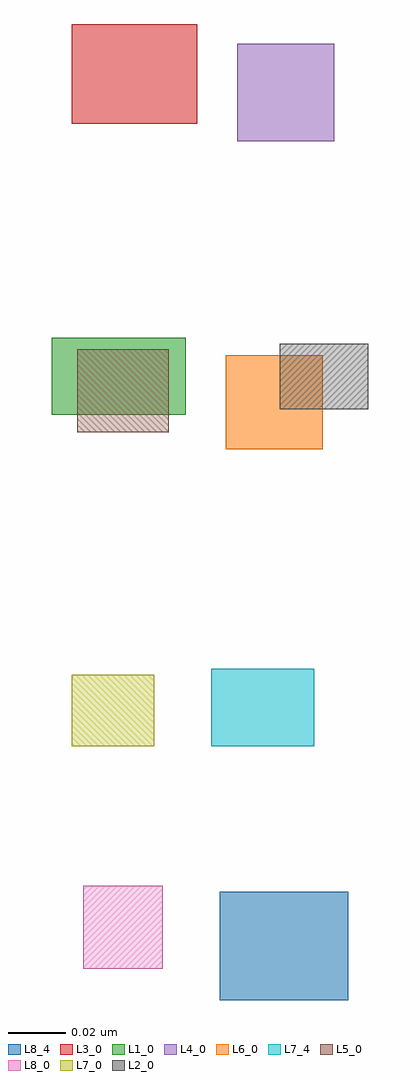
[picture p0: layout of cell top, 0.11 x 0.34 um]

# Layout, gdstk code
import gdstk
lib = gdstk.Library(unit=1e-6, precision=1e-09)
def R(c, l, rs):  # rectangles x0, y0, x1, y1
    for r in rs: c.add(gdstk.rectangle(r[:2], r[2:], *l))
L1_0 = (1, 0)
L2_0 = (2, 0)
L3_0 = (3, 0)
L4_0 = (4, 0)
L5_0 = (5, 0)
L6_0 = (6, 0)
L7_0 = (7, 0)
L7_4 = (7, 4)
L8_0 = (8, 0)
L8_4 = (8, 4)

c_a = lib.new_cell('a')
R(c_a, L3_0, [(-0.132,0.071,-0.088,0.106)])
R(c_a, L4_0, [(-0.074,0.065,-0.04,0.099)])

c_b = lib.new_cell('b')
R(c_b, L5_0, [(-0.131,0.02,-0.099,0.049)])
R(c_b, L6_0, [(-0.079,0.014,-0.045,0.047)])

c_c = lib.new_cell('c')
R(c_c, L7_0, [(-0.132,-0.034,-0.103,-0.009)])
R(c_c, L7_4, [(-0.083,-0.034,-0.047,-0.007)])

c_d = lib.new_cell('d')
R(c_d, L8_0, [(-0.13,-0.074,-0.102,-0.045)])
R(c_d, L8_4, [(-0.082,-0.085,-0.037,-0.047)])

top = lib.new_cell('top')
R(top, L1_0, [(-0.271,0.075,-0.224,0.102)])
R(top, L2_0, [(-0.191,0.077,-0.16,0.1)])
top.add(gdstk.Reference(c_a, (-0.132,0.106)))
top.add(gdstk.Reference(c_b, (-0.131,0.049)))
top.add(gdstk.Reference(c_c, (-0.132,-0.007)))
top.add(gdstk.Reference(c_d, (-0.13,-0.045)))

lib.write_gds('top.gds')
